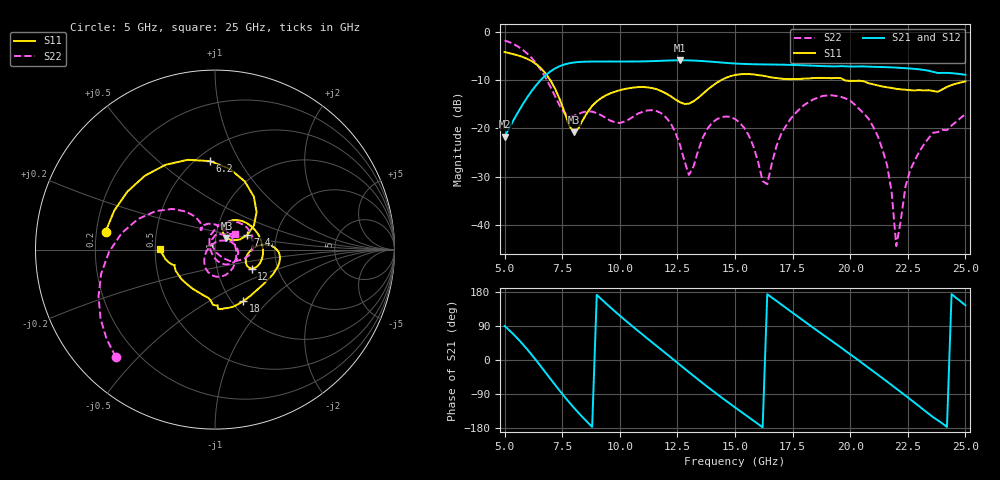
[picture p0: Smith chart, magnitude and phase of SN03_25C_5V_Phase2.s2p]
!File name = SN03_25C_5V_Phase2.s2p
!Date = 2/3/2014
!Time = 2:34 PM
!Test duration(min) = 0.07
!Test = SPars
!MPTS version = 7.120.8
!Comments =
!set_LD1(binary) = 2
!set_LD2(binary) = 524285
!test = SPars
!date_code = 20140203
!file_name = SN03_25C_5V_Phase2.s2p
!VREF(V) = 5.000
!VREF(mA) = 0.002
# GHz  S  DB  R  50
!%	Freq(GHz)  S11(dB)  S11(deg)  S21(dB)  S21(deg)  S12(dB)  S12(deg)  S22(dB)  S22(deg)
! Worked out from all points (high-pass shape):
!   101 points, 5 GHz to 25 GHz, reference 50 ohm
!   highest |S21| = -5.89 dB at 12.6 GHz (marker M1); lowest = -21.7 dB at 5 GHz (marker M2)
!   |S21| within 3 dB of the highest: 6.804 GHz to 24.99 GHz (18.19 GHz wide, 114 % of centre)
!   lowest |S11| = -20.8 dB at 8 GHz (marker M3), VSWR 1.20, Z = 56.3 + j7.4 ohm
!   |S11| at or under -10 dB: 6.98 GHz to 14.4 GHz (7.418 GHz wide, 69.4 % of centre); 19.76 GHz to end of sweep
!   |S22| runs from -44.4 to -1.8 dB; largest |S21 - S12| = 0.00095
!   S11 on the Smith chart (normalised r, x): 5 GHz: 0.24, +0.08; 6.2 GHz: 0.58, +0.76; 7.4 GHz: 1.42, +0.24; 12 GHz: 1.47, -0.33; 18 GHz: 1.13, -0.72; 25 GHz: 0.53, +0.01
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5  -4.18 170.6  -21.70 89.8  -21.72 89.8  -1.78 -132.8
6.2  -6.13 93.2  -12.09 11.9  -12.11 11.9  -5.55 170.0
7.4  -14.06 24.3  -7.09 -81.8  -7.10 -81.8  -15.37 118.6
8  -20.82 45.8  -6.35 -125.5  -6.37 -125.5  -17.41 126.4
8.4  -18.23 69.3  -6.20 -151.9  -6.20 -151.9  -16.64 120.6
10.2  -11.85 19.2  -6.15 106.7  -6.15 106.7  -18.58 -0.9
11.8  -12.27 -24.7  -6.00 27.2  -6.01 27.2  -16.85 -97.7
12  -12.73 -27.4  -5.96 17.3  -5.98 17.4  -17.70 -107.9
12.6  -14.54 -23.4  -5.89 -12.3  -5.90 -12.3  -23.21 -147.7
13  -14.88 -10.6  -5.91 -32.1  -5.92 -32.0  -29.64 140.8
14  -11.26 5.7  -6.20 -79.9  -6.21 -79.9  -18.86 14.1
15  -8.94 -3.0  -6.56 -125.0  -6.57 -125.0  -18.07 -35.4
16.4  -9.26 -26.5  -6.75 173.5  -6.76 173.5  -31.56 174.4
17  -9.70 -39.2  -6.80 147.0  -6.80 146.9  -21.18 104.5
18  -9.70 -61.4  -6.94 102.5  -6.95 102.5  -15.14 63.4
18.4  -9.57 -69.4  -7.02 84.9  -7.03 84.9  -13.98 49.1
20.8  -10.64 -93.7  -7.21 -20.8  -7.21 -20.8  -18.02 -31.1
21.8  -11.62 -104.4  -7.36 -66.3  -7.36 -66.3  -33.21 -61.7
22  -11.81 -108.7  -7.41 -75.5  -7.41 -75.6  -44.39 -77.1
22.4  -11.99 -118.9  -7.53 -94.1  -7.54 -94.2  -32.01 120.6
22.8  -12.12 -131.7  -7.67 -112.9  -7.67 -112.9  -26.63 110.6
25  -10.27 178.9  -8.90 144.5  -8.91 144.5  -17.05 39.3
